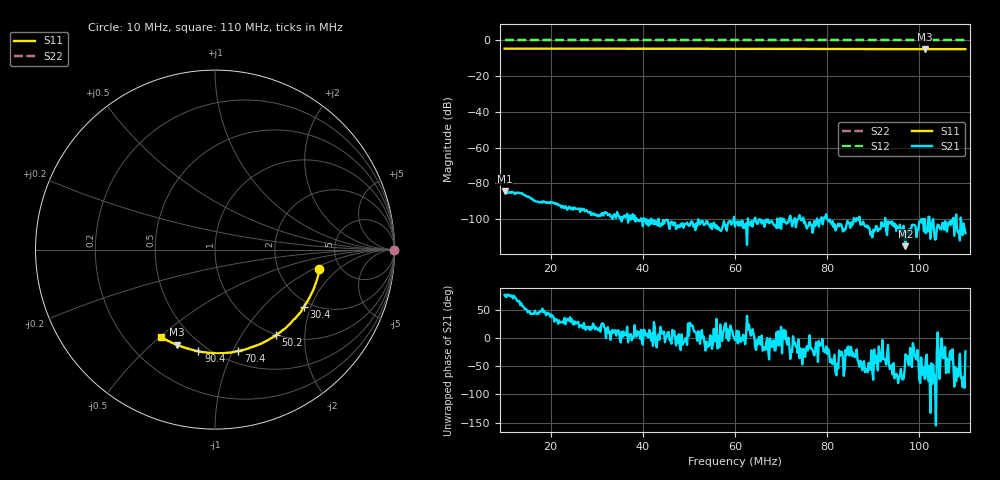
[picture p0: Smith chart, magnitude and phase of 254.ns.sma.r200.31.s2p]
! Anritsu VNA Master:  Model: MS2036C/10/77
! SN:  1601066
! /card0/usr/254.ns.sma.r200.31.s2p
! Existing Calibration Information:
! TYPE:  Current Settings,  Active Cal Settings
! TIME:  12/20/2017 02:10:55 PM,  12/20/2017 02:00:00 PM
! INTERNAL TEMP:  47.3 C,  47.0 C
! # POINTS:  501,  501
! START FREQ:  10.000 MHz,  10.000 MHz
! STOP FREQ:  110.000 MHz,  110.000 MHz
! SOURCE POWER:  High,  High
! IFBW:  100 Hz,  100 Hz
! AVG FACTOR:  1 ,  1
! REF PLANE 1:  0 mm,  0 mm
! REF PLANE 2:  0 mm,  0 mm
! CAL TYPE:  Full S11,  Full S11
! CAL METHOD:  SOLT,  SOLT
! CAL LINE TYPE:  Coax,  Coax
! DUT PORT 1:  N-Conn(F),  N-Conn(F)
! DUT PORT 2:  K-Conn(F),  K-Conn(F)
! CAL STATUS:  OK: Accuracy High,  --
# GHZ S DB R 50.0
! FREQ.GHZ  S11DB  S11A  S21DB  S21A  S12DB  S12A  S22DB  S22A
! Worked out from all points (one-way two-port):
!   501 points, 10 MHz to 110 MHz, reference 50 ohm
!   highest |S21| = -84.39 dB at 10 MHz (marker M1); lowest = -115.1 dB at 97 MHz (marker M2)
!   lowest |S11| = -4.9 dB at 101.2 MHz (marker M3), VSWR 3.66, Z = 19.3 - j30.3 ohm
!   |S11| at or under -10 dB: nowhere
!   |S22| runs from 0.0 to 0.0 dB; largest |S21 - S12| = 1
!   S11 on the Smith chart (normalised r, x): 10 MHz: 3.47, -1.18; 30.4 MHz: 1.83, -1.79; 50.2 MHz: 0.99, -1.44; 70.4 MHz: 0.62, -1.05; 90.4 MHz: 0.44, -0.75; 110 MHz: 0.35, -0.51
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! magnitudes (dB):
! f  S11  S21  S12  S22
! 10 MHz  -4.6  -84.4  0.0  0.0
! 26.8 MHz  -4.6  -94.9  0.0  0.0
! 30.4 MHz  -4.6  -97.6  0.0  0.0
! 33.2 MHz  -4.6  -98.6  0.0  0.0
! 35.4 MHz  -4.6  -101.2  0.0  0.0
! 37.2 MHz  -4.6  -97.8  0.0  0.0
! 38.8 MHz  -4.6  -100.7  0.0  0.0
! 40.6 MHz  -4.6  -100.0  0.0  0.0
! 43.4 MHz  -4.6  -99.7  0.0  0.0
! 44.6 MHz  -4.6  -102.5  0.0  0.0
! 46.2 MHz  -4.7  -101.4  0.0  0.0
! 50.2 MHz  -4.7  -103.6  0.0  0.0
! 60 MHz  -4.7  -104.1  0.0  0.0
! 70.4 MHz  -4.7  -101.4  0.0  0.0
! 76.8 MHz  -4.7  -107.6  0.0  0.0
! 81 MHz  -4.8  -102.9  0.0  0.0
! 90.4 MHz  -4.8  -105.9  0.0  0.0
! 93.4 MHz  -4.8  -101.5  0.0  0.0
! 97 MHz  -4.9  -115.1  0.0  0.0
! 101.2 MHz  -4.9  -99.9  0.0  0.0
! 107 MHz  -4.9  -100.5  0.0  0.0
! 110 MHz  -4.9  -107.8  0.0  0.0
